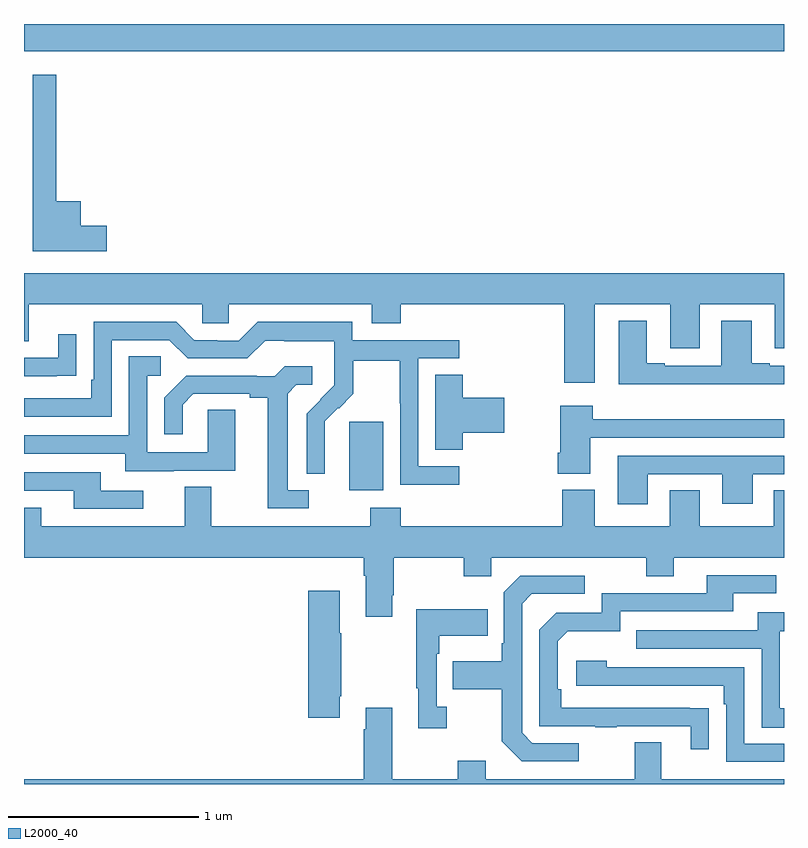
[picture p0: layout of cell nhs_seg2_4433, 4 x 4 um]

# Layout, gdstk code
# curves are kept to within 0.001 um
import gdstk
lib = gdstk.Library(unit=1e-6, precision=1e-09)
def R(c, l, rs):  # rectangles x0, y0, x1, y1
    for r in rs: c.add(gdstk.rectangle(r[:2], r[2:], *l))
def P(c, l, *ps):  # polygons
    for p in ps: c.add(gdstk.Polygon(p, *l))
L2000_40 = (2000, 40)

nhs_seg2_4433 = lib.new_cell('nhs_seg2_4433')
R(nhs_seg2_4433, L2000_40, [(352.712,625.346,352.891,625.707), (351,627.656,355,627.8)])
P(nhs_seg2_4433, L2000_40, [(351.436,626.738),(351.298,626.738),(351.298,626.866),(351.169,626.866),(351.169,627.532),(351.047,627.532),(351.047,626.603),(351.436,626.603)],
  [(354.004,626.324),(354.401,626.324),(354.401,626.094),(354.556,626.094),(354.556,626.324),(354.95,626.324),(354.95,626.094),(355,626.094),(355,626.488),(351,626.488),(351,626.13),(351.025,626.13),(351.025,626.324),(351.939,626.324),(351.939,626.226),(352.077,626.226),(352.077,626.324),(352.829,626.324),(352.829,626.225),(352.982,626.225),(352.982,626.324),(353.843,626.324),(353.843,625.911),(354.004,625.911)],
  [(355,626.001),(354.925,626.001),(354.925,626.014),(354.829,626.014),(354.829,626.239),(354.671,626.239),(354.671,626.001),(354.373,626.001),(354.373,626.014),(354.277,626.014),(354.277,626.239),(354.131,626.239),(354.131,625.904),(355,625.904)],
  [(353.29,625.473),(353.076,625.473),(353.076,626.04),(353.29,626.04),(353.29,626.136),(352.728,626.136),(352.728,626.233),(352.231,626.233),(352.131,626.133),(352.016,626.133),(352.016,626.136),(351.897,626.136),(351.801,626.232),(351.366,626.232),(351.366,625.927),(351.353,625.927),(351.353,625.83),(351,625.83),(351,625.734),(351.462,625.734),(351.462,626.136),(351.765,626.136),(351.861,626.04),(352.176,626.04),(352.269,626.133),(352.369,626.133),(352.369,626.129),(352.632,626.129),(352.632,625.995),(352.634,625.995),(352.634,625.898),(352.488,625.75),(352.488,625.432),(352.584,625.432),(352.583,625.709),(352.653,625.779),(352.656,625.776),(352.733,625.853),(352.733,626.028),(352.978,626.028),(352.978,625.804),(352.98,625.804),(352.98,625.375),(353.29,625.375)],
  [(351.173,625.948),(351.275,625.948),(351.275,626.167),(351.179,626.167),(351.179,626.043),(351,626.043),(351,625.947),(351.173,625.947)],
  [(351.787,625.449),(352.111,625.449),(352.111,625.769),(351.966,625.769),(351.966,625.545),(351.648,625.545),(351.648,625.95),(351.721,625.95),(351.721,626.051),(351.552,626.051),(351.552,625.635),(351,625.635),(351,625.539),(351.533,625.539),(351.533,625.445),(351.787,625.445)],
  [(352.498,625.347),(352.387,625.347),(352.387,625.855),(352.434,625.902),(352.516,625.902),(352.516,625.999),(352.372,625.999),(352.32,625.947),(352.226,625.947),(352.226,625.95),(351.854,625.95),(351.738,625.834),(351.738,625.641),(351.835,625.641),(351.835,625.797),(351.892,625.854),(352.187,625.854),(352.187,625.832),(352.283,625.832),(352.283,625.251),(352.498,625.251)],
  [(353.309,625.649),(353.527,625.649),(353.527,625.832),(353.309,625.832),(353.309,625.955),(353.165,625.955),(353.165,625.558),(353.309,625.558)],
  [(353.98,625.623),(355,625.623),(355,625.721),(353.993,625.721),(353.993,625.792),(353.822,625.792),(353.822,625.543),(353.81,625.543),(353.81,625.433),(353.98,625.433)],
  [(354.283,625.431),(354.674,625.431),(354.674,625.275),(354.835,625.275),(354.835,625.431),(355,625.431),(355,625.527),(354.125,625.527),(354.125,625.272),(354.283,625.272)],
  [(351.628,625.344),(351.403,625.344),(351.403,625.44),(351,625.44),(351,625.344),(351.263,625.344),(351.263,625.248),(351.628,625.248)],
  [(352.939,624.793),(352.947,624.793),(352.947,624.992),(353.314,624.992),(353.314,624.893),(353.46,624.893),(353.46,624.992),(354.274,624.992),(354.274,624.893),(354.421,624.893),(354.421,624.992),(355,624.992),(355,625.346),(354.947,625.346),(354.947,625.156),(354.556,625.156),(354.556,625.346),(354.398,625.346),(354.398,625.156),(354.004,625.156),(354.004,625.348),(353.834,625.348),(353.834,625.156),(352.982,625.156),(352.982,625.255),(352.822,625.255),(352.822,625.156),(351.985,625.156),(351.985,625.364),(351.845,625.364),(351.845,625.156),(351.091,625.156),(351.091,625.255),(351,625.255),(351,624.992),(352.787,624.992),(352.787,624.896),(352.799,624.896),(352.799,624.681),(352.939,624.681)],
  [(354.605,624.2),(353.828,624.201),(353.828,624.298),(353.808,624.298),(353.808,624.552),(353.861,624.605),(354.138,624.605),(354.138,624.708),(354.733,624.708),(354.733,624.804),(354.958,624.804),(354.958,624.9),(354.593,624.9),(354.593,624.804),(354.042,624.804),(354.042,624.702),(353.802,624.702),(353.712,624.612),(353.712,624.105),(354.007,624.105),(354.007,624.1),(354.119,624.1),(354.119,624.105),(354.509,624.105),(354.509,623.982),(354.605,623.982)],
  [(353.92,624.015),(353.676,624.015),(353.622,624.069),(353.622,624.75),(353.673,624.801),(353.95,624.801),(353.95,624.897),(353.613,624.897),(353.526,624.81),(353.526,624.541),(353.514,624.541),(353.514,624.445),(353.257,624.445),(353.257,624.298),(353.514,624.298),(353.514,624.025),(353.619,623.919),(353.92,623.919)],
  [(352.663,624.262),(352.671,624.262),(352.671,624.593),(352.663,624.593),(352.663,624.817),(352.496,624.817),(352.496,624.15),(352.663,624.15)],
  [(353.224,624.206),(353.172,624.206),(353.172,624.485),(353.185,624.485),(353.185,624.581),(353.441,624.581),(353.441,624.721),(353.064,624.721),(353.064,624.305),(353.075,624.305),(353.075,624.093),(353.224,624.093)],
  [(355,624.198),(354.978,624.198),(354.978,624.603),(355,624.603),(355,624.703),(354.863,624.703),(354.863,624.609),(354.223,624.609),(354.223,624.513),(354.882,624.513),(354.882,624.097),(355,624.097)],
  [(355,624.012),(354.792,624.012),(354.792,624.414),(354.068,624.414),(354.068,624.448),(353.907,624.448),(353.907,624.318),(354.683,624.318),(354.683,624.221),(354.696,624.221),(354.696,623.916),(355,623.916)],
  [(355,623.824),(354.355,623.824),(354.355,624.019),(354.215,624.019),(354.215,623.824),(353.431,623.824),(353.431,623.923),(353.284,623.923),(353.284,623.824),(352.939,623.824),(352.939,624.202),(352.799,624.202),(352.799,624.089),(352.787,624.089),(352.787,623.824),(351,623.824),(351,623.8),(355,623.8)])

lib.write_gds('nhs_seg2_4433.gds')
